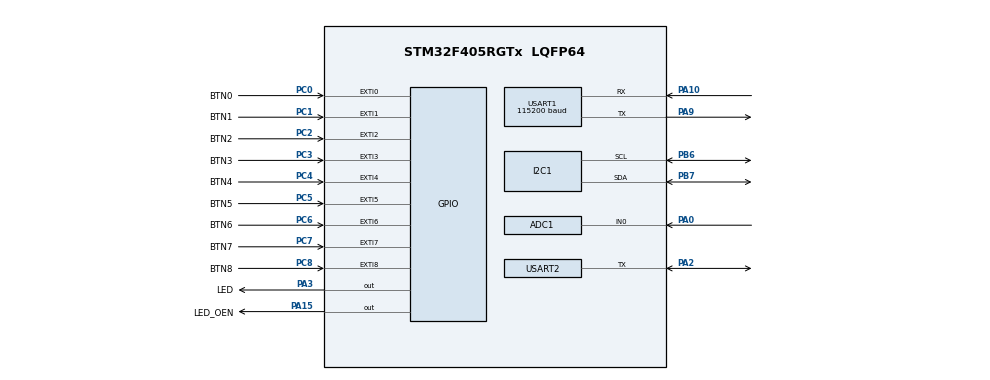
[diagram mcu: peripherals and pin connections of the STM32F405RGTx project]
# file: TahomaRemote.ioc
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ADC1.Channel-0\#ChannelRegularConversion=ADC_CHANNEL_0
ADC1.Channel-IN0=ADC_CHANNEL_0
ADC1.ClockPrescaler=ADC_CLOCK_SYNC_PCLK_DIV4
ADC1.ContinuousConvMode=ENABLE
ADC1.DMAContinuousRequests=ENABLE
ADC1.DataAlign=ADC_DATAALIGN_RIGHT
ADC1.DiscontinuousConvMode=DISABLE
ADC1.EOCSelection=ADC_EOC_SINGLE_CONV
ADC1.EnableAnalogWatchDog=false
ADC1.ExternalTrigConv=ADC_SOFTWARE_START
ADC1.ExternalTrigConvEdge=ADC_EXTERNALTRIGCONVEDGE_NONE
ADC1.InjNumberOfConversion=0
ADC1.Mode=__NULL
ADC1.NbrOfConversion=1
ADC1.Rank-0\#ChannelRegularConversion=1
ADC1.Resolution=ADC_RESOLUTION_12B
ADC1.SamplingTime-0\#ChannelRegularConversion=ADC_SAMPLETIME_480CYCLES
ADC1.ScanConvMode=DISABLE
ADC1.master=1
Dma.ADC1.0.Direction=DMA_PERIPH_TO_MEMORY
Dma.ADC1.0.FIFOMode=DMA_FIFOMODE_DISABLE
Dma.ADC1.0.Instance=DMA2_Stream0
Dma.ADC1.0.MemDataAlignment=DMA_MDATAALIGN_HALFWORD
Dma.ADC1.0.MemInc=DMA_MINC_ENABLE
Dma.ADC1.0.Mode=DMA_CIRCULAR
Dma.ADC1.0.PeriphDataAlignment=DMA_PDATAALIGN_HALFWORD
Dma.ADC1.0.PeriphInc=DMA_PINC_DISABLE
Dma.ADC1.0.Priority=DMA_PRIORITY_LOW
Dma.I2C1_TX.3.Direction=DMA_MEMORY_TO_PERIPH
Dma.I2C1_TX.3.FIFOMode=DMA_FIFOMODE_DISABLE
Dma.I2C1_TX.3.Instance=DMA1_Stream6
Dma.I2C1_TX.3.MemDataAlignment=DMA_MDATAALIGN_BYTE
Dma.I2C1_TX.3.MemInc=DMA_MINC_ENABLE
Dma.I2C1_TX.3.Mode=DMA_NORMAL
Dma.I2C1_TX.3.PeriphDataAlignment=DMA_PDATAALIGN_BYTE
Dma.I2C1_TX.3.PeriphInc=DMA_PINC_DISABLE
Dma.I2C1_TX.3.Priority=DMA_PRIORITY_HIGH
Dma.Request0=ADC1
Dma.Request1=USART1_RX
Dma.Request2=USART1_TX
Dma.Request3=I2C1_TX
Dma.USART1_RX.1.Direction=DMA_PERIPH_TO_MEMORY
Dma.USART1_RX.1.FIFOMode=DMA_FIFOMODE_DISABLE
Dma.USART1_RX.1.Instance=DMA2_Stream5
Dma.USART1_RX.1.MemDataAlignment=DMA_MDATAALIGN_BYTE
Dma.USART1_RX.1.MemInc=DMA_MINC_ENABLE
Dma.USART1_RX.1.Mode=DMA_CIRCULAR
Dma.USART1_RX.1.PeriphDataAlignment=DMA_PDATAALIGN_BYTE
Dma.USART1_RX.1.PeriphInc=DMA_PINC_DISABLE
Dma.USART1_RX.1.Priority=DMA_PRIORITY_LOW
Dma.USART1_TX.2.Direction=DMA_MEMORY_TO_PERIPH
Dma.USART1_TX.2.FIFOMode=DMA_FIFOMODE_DISABLE
Dma.USART1_TX.2.Instance=DMA2_Stream7
Dma.USART1_TX.2.MemDataAlignment=DMA_MDATAALIGN_BYTE
Dma.USART1_TX.2.MemInc=DMA_MINC_ENABLE
Dma.USART1_TX.2.Mode=DMA_NORMAL
Dma.USART1_TX.2.PeriphDataAlignment=DMA_PDATAALIGN_BYTE
Dma.USART1_TX.2.PeriphInc=DMA_PINC_DISABLE
Dma.USART1_TX.2.Priority=DMA_PRIORITY_LOW
FREERTOS.Tasks01=uiTask,24,4096,StartUiTask,Default,NULL,Dynamic,NULL,NULL;comTask,16,4096,StartComTask,Default,NULL,Dynamic,NULL,NULL;monitorTask,8,512,StartMonitorTask,Default,NULL,Dynamic,NULL,NULL
FREERTOS.configCHECK_FOR_STACK_OVERFLOW=2
FREERTOS.configENABLE_FPU=0
FREERTOS.configMINIMAL_STACK_SIZE=256
FREERTOS.configTOTAL_HEAP_SIZE=65536
FREERTOS.configUSE_NEWLIB_REENTRANT=1
Mcu.Family=STM32F4
Mcu.Name=STM32F405RGTx
Mcu.Package=LQFP64
NVIC.DMA1_Stream6_IRQn=true\:5\:0\:false\:false\:true\:true\:false\:true\:true
NVIC.DMA2_Stream0_IRQn=true\:5\:0\:false\:false\:true\:true\:false\:true\:true
NVIC.DMA2_Stream5_IRQn=true\:5\:0\:false\:false\:true\:true\:false\:true\:true
NVIC.DMA2_Stream7_IRQn=true\:5\:0\:false\:false\:true\:true\:false\:true\:true
NVIC.EXTI0_IRQn=true\:5\:0\:false\:false\:true\:true\:true\:true\:true
NVIC.EXTI1_IRQn=true\:5\:0\:false\:false\:true\:true\:true\:true\:true
NVIC.EXTI2_IRQn=true\:5\:0\:false\:false\:true\:true\:true\:true\:true
NVIC.EXTI3_IRQn=true\:5\:0\:false\:false\:true\:true\:true\:true\:true
NVIC.EXTI4_IRQn=true\:5\:0\:false\:false\:true\:true\:true\:true\:true
NVIC.EXTI9_5_IRQn=true\:5\:0\:false\:false\:true\:true\:true\:true\:true
NVIC.PriorityGroup=NVIC_PRIORITYGROUP_4
NVIC.TIM1_UP_TIM10_IRQn=true\:15\:0\:false\:false\:true\:false\:false\:true\:true
NVIC.TimeBase=TIM1_UP_TIM10_IRQn
NVIC.TimeBaseIP=TIM1
NVIC.USART1_IRQn=true\:5\:0\:false\:false\:true\:true\:true\:true\:true
NVIC.USART2_IRQn=true\:5\:0\:false\:false\:true\:true\:true\:true\:true
PA0-WKUP.Signal=ADCx_IN0
PA10.Mode=Asynchronous
PA10.Signal=USART1_RX
PA13.Mode=Trace_Asynchronous_SW
PA13.Signal=SYS_JTMS-SWDIO
PA14.Mode=Trace_Asynchronous_SW
PA14.Signal=SYS_JTCK-SWCLK
PA15.GPIO_Label=LED_OEN
PA15.Signal=GPIO_Output
PA2.GPIO_ModeDefaultOD=GPIO_MODE_AF_PP
PA2.Mode=Half_duplex(single_wire_mode)
PA2.Signal=USART2_TX
PA3.GPIO_Label=LED
PA3.Signal=GPIO_Output
PA9.GPIO_PuPd=GPIO_NOPULL
PA9.Mode=Asynchronous
PA9.Signal=USART1_TX
PB3.Mode=Trace_Asynchronous_SW
PB3.Signal=SYS_JTDO-SWO
PB6.Mode=I2C
PB6.Signal=I2C1_SCL
PB7.Mode=I2C
PB7.Signal=I2C1_SDA
PC0.GPIO_Label=BTN0
PC0.GPIO_ModeDefaultEXTI=GPIO_MODE_IT_FALLING
PC0.GPIO_PuPd=GPIO_PULLDOWN
PC0.Signal=GPXTI0
PC1.GPIO_Label=BTN1
PC1.GPIO_ModeDefaultEXTI=GPIO_MODE_IT_FALLING
PC1.GPIO_PuPd=GPIO_PULLDOWN
PC1.Signal=GPXTI1
PC2.GPIO_Label=BTN2
PC2.GPIO_ModeDefaultEXTI=GPIO_MODE_IT_FALLING
PC2.GPIO_PuPd=GPIO_PULLDOWN
PC2.Signal=GPXTI2
PC3.GPIO_Label=BTN3
PC3.GPIO_ModeDefaultEXTI=GPIO_MODE_IT_FALLING
PC3.GPIO_PuPd=GPIO_PULLDOWN
PC3.Signal=GPXTI3
PC4.GPIO_Label=BTN4
PC4.GPIO_ModeDefaultEXTI=GPIO_MODE_IT_FALLING
PC4.GPIO_PuPd=GPIO_PULLDOWN
PC4.Signal=GPXTI4
PC5.GPIO_Label=BTN5
PC5.GPIO_ModeDefaultEXTI=GPIO_MODE_IT_FALLING
PC5.GPIO_PuPd=GPIO_PULLDOWN
PC5.Signal=GPXTI5
PC6.GPIO_Label=BTN6
PC6.GPIO_ModeDefaultEXTI=GPIO_MODE_IT_FALLING
PC6.GPIO_PuPd=GPIO_PULLDOWN
PC6.Signal=GPXTI6
PC7.GPIO_Label=BTN7
PC7.GPIO_ModeDefaultEXTI=GPIO_MODE_IT_FALLING
PC7.GPIO_PuPd=GPIO_PULLDOWN
PC7.Signal=GPXTI7
PC8.GPIO_Label=BTN8
PC8.GPIO_ModeDefaultEXTI=GPIO_MODE_IT_FALLING
PC8.GPIO_PuPd=GPIO_PULLDOWN
PC8.Signal=GPXTI8
PH0-OSC_IN.Mode=HSE-External-Oscillator
PH0-OSC_IN.Signal=RCC_OSC_IN
PH1-OSC_OUT.Mode=HSE-External-Oscillator
PH1-OSC_OUT.Signal=RCC_OSC_OUT
ProjectManager.HeapSize=0x200
ProjectManager.StackSize=0x400
ProjectManager.TargetToolchain=CMake
RCC.48MHZClocksFreq_Value=84000000
RCC.AHBFreq_Value=168000000
RCC.APB1CLKDivider=RCC_HCLK_DIV4
RCC.APB1Freq_Value=42000000
RCC.APB1TimFreq_Value=84000000
RCC.APB2CLKDivider=RCC_HCLK_DIV2
RCC.APB2Freq_Value=84000000
RCC.APB2TimFreq_Value=168000000
RCC.CortexFreq_Value=168000000
RCC.FLatency=FLASH_LATENCY_5
RCC.HCLKFreq_Value=168000000
RCC.HSE_VALUE=16000000
RCC.HSI_VALUE=16000000
RCC.LSE_VALUE=32768
RCC.PLLM=8
RCC.PLLN=168
RCC.SYSCLKFreq_VALUE=168000000
RCC.SYSCLKSource=RCC_SYSCLKSOURCE_PLLCLK
RCC.VCOOutputFreq_Value=336000000
SH.ADCx_IN0.0=ADC1_IN0,IN0
USART1.BaudRate=115200
USART1.Mode=MODE_TX_RX
USART1.OverSampling=UART_OVERSAMPLING_16
USART1.Parity=PARITY_NONE
USART1.StopBits=STOPBITS_1
USART1.VirtualMode=VM_ASYNC
USART1.WordLength=WORDLENGTH_8B
USART2.BaudRate=115200
USART2.Mode=MODE_TX_RX
USART2.OverSampling=UART_OVERSAMPLING_16
USART2.Parity=PARITY_NONE
USART2.StopBits=STOPBITS_1
USART2.VirtualMode=VM_ASYNC
USART2.WordLength=WORDLENGTH_8B
VP_FREERTOS_VS_CMSIS_V2.Mode=CMSIS_V2
VP_SYS_VS_tim1.Mode=TIM1
board=custom

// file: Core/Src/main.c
/* USER CODE BEGIN Header */
/**
  ******************************************************************************
  * @file           : main.c
  * @brief          : Main program body
  ******************************************************************************
  * @attention
  *
  * Copyright (c) 2025 STMicroelectronics.
  * All rights reserved.
  *
  * This software is licensed under terms that can be found in the LICENSE file
  * in the root directory of this software component.
  * If no LICENSE file comes with this software, it is provided AS-IS.
  *
  ******************************************************************************
  */
/* USER CODE END Header */
#include "main.h"
#include "cmsis_os.h"
#include "adc.h"
#include "dma.h"
#include "i2c.h"
#include "usart.h"
#include "gpio.h"

/* USER CODE BEGIN Includes */
#include "Dbg.h"
/* USER CODE END Includes */

/* USER CODE BEGIN PD */
#define ESP_UART USART1
#define ESP_DMA DMA2
#define ESP_RX_DMA_STREAM LL_DMA_STREAM_5
#define ESP_TX_DMA_STREAM LL_DMA_STREAM_7
/* USER CODE END PD */

/* USER CODE BEGIN PV */
/* Buffer used for transmission */
#define RX_BUFFER_SIZE 1024
char rxBuffer[RX_BUFFER_SIZE];
volatile size_t readPtr = 0;
volatile size_t writePtr = 0;

#define TX_BUFFER_SIZE 1024
char txBuffer[TX_BUFFER_SIZE];
volatile uint8_t transmissionComplete = 1;

// Signaled from the UART RX ISR (USART idle-line / DMA half-transfer / DMA
// transfer-complete) whenever new bytes may be available. Lets nextChar()
// block briefly instead of busy-spinning while waiting for the ESP8266.
static osSemaphoreId_t rxDataSem = NULL;
/* USER CODE END PV */

void SystemClock_Config(void);
void MX_FREERTOS_Init(void);
/* USER CODE BEGIN PFP */
void     setupDMA(void);
int      StartTransfers(void);
uint8_t  Buffercmp8(uint8_t* pBuffer1, uint8_t* pBuffer2, uint8_t BufferLength);
/* USER CODE END PFP */

int main(void)
{

  /* MCU Configuration--------------------------------------------------------*/

  /* Reset of all peripherals, Initializes the Flash interface and the Systick. */
  HAL_Init();

  /* Configure the system clock */
  SystemClock_Config();

  /* Initialize all configured peripherals */
  MX_GPIO_Init();
  MX_DMA_Init();
  MX_USART1_UART_Init();
  MX_USART2_UART_Init();
  MX_ADC1_Init();
  MX_I2C1_Init();
  /* USER CODE BEGIN 2 */
  setupDMA();
  /* USER CODE END 2 */

  /* Init scheduler */
  osKernelInitialize();  /* Call init function for freertos objects (in cmsis_os2.c) */
  MX_FREERTOS_Init();

  /* Start scheduler */
  osKernelStart();

  /* We should never get here as control is now taken by the scheduler */

  /* Infinite loop */
  while (1)
  {

  }
}

void SystemClock_Config(void)
{
  LL_FLASH_SetLatency(LL_FLASH_LATENCY_5);
  while(LL_FLASH_GetLatency()!= LL_FLASH_LATENCY_5)
  {
  }
  LL_PWR_SetRegulVoltageScaling(LL_PWR_REGU_VOLTAGE_SCALE1);
  LL_RCC_HSI_SetCalibTrimming(16);
  LL_RCC_HSI_Enable();

   /* Wait till HSI is ready */
  while(LL_RCC_HSI_IsReady() != 1)
  {

  }
  LL_RCC_PLL_ConfigDomain_SYS(LL_RCC_PLLSOURCE_HSI, LL_RCC_PLLM_DIV_8, 168, LL_RCC_PLLP_DIV_2);
  LL_RCC_PLL_Enable();

   /* Wait till PLL is ready */
  while(LL_RCC_PLL_IsReady() != 1)
  {

  }
  while (LL_PWR_IsActiveFlag_VOS() == 0)
  {
  }
  LL_RCC_SetAHBPrescaler(LL_RCC_SYSCLK_DIV_1);
  LL_RCC_SetAPB1Prescaler(LL_RCC_APB1_DIV_4);
  LL_RCC_SetAPB2Prescaler(LL_RCC_APB2_DIV_2);
  LL_RCC_SetSysClkSource(LL_RCC_SYS_CLKSOURCE_PLL);

   /* Wait till System clock is ready */
  while(LL_RCC_GetSysClkSource() != LL_RCC_SYS_CLKSOURCE_STATUS_PLL)
  {

  }
  LL_SetSystemCoreClock(168000000);

   /* Update the time base */
  if (HAL_InitTick (TICK_INT_PRIORITY) != HAL_OK)
  {
    Error_Handler();
  }
}

/* USER CODE BEGIN 4 */
void setupDMA() {

  // Enable RX interrupts (HT, TC, Usart IDLE)
  LL_DMA_EnableIT_HT(ESP_DMA, ESP_RX_DMA_STREAM);
  LL_DMA_EnableIT_TC(ESP_DMA, ESP_RX_DMA_STREAM);
  LL_USART_EnableIT_IDLE(ESP_UART);

  // Enable DMA TX TC interrupts
  LL_DMA_EnableIT_TC(ESP_DMA, ESP_TX_DMA_STREAM);

  // Configure TX DMA
  LL_DMA_SetPeriphAddress(ESP_DMA, ESP_TX_DMA_STREAM, LL_USART_DMA_GetRegAddr(USART1));

  // start DMA reception
  LL_DMA_SetPeriphAddress(ESP_DMA, ESP_RX_DMA_STREAM, LL_USART_DMA_GetRegAddr(USART1));
  LL_DMA_SetMemoryAddress(ESP_DMA, ESP_RX_DMA_STREAM, (uint32_t)rxBuffer);
  LL_DMA_SetDataLength(ESP_DMA, ESP_RX_DMA_STREAM, sizeof(rxBuffer));
  LL_USART_EnableDMAReq_RX(ESP_UART);
  //LL_USART_ClearFlag_TC(USART1);
  LL_DMA_EnableStream(ESP_DMA, ESP_RX_DMA_STREAM);

}

void sendCommand(const char* buf, size_t len) {
  TRACE_LOG("sendCommand: %.*s with length %d\n", len, buf, len);
  if(len >= TX_BUFFER_SIZE) {
    USER_LOG("Command too long for TR Buffer %d", len);
    return;
  }

  while(transmissionComplete != 1);
  memcpy(txBuffer, buf, len);

  // DMA transfer
  LL_DMA_SetMemoryAddress(ESP_DMA, ESP_TX_DMA_STREAM, (uint32_t)txBuffer);
  LL_DMA_SetDataLength(ESP_DMA, ESP_TX_DMA_STREAM, len);
  LL_USART_EnableDMAReq_TX(ESP_UART);
  LL_USART_ClearFlag_TC(ESP_UART);
  LL_DMA_EnableStream(ESP_DMA, ESP_TX_DMA_STREAM);
  transmissionComplete = 0;
}

size_t available() {
  if(writePtr >= readPtr) {
    return writePtr - readPtr;
  } else {
    return (sizeof(rxBuffer) - readPtr) + writePtr;
  }
}

void uartRxSemInit(void) {
  rxDataSem = osSemaphoreNew(1, 0, NULL);
}

char nextChar() {
  if(!available()) {
    // Block briefly for new data instead of busy-spinning; rxDataSem is
    // released by uartRxCallback() when the ISR observes new bytes. Bounded
    // wait keeps callers' own timeout/elapsed-time checks working as before.
    if(rxDataSem != NULL) {
      osSemaphoreAcquire(rxDataSem, 500);
    }
    if(!available()) {
      return 0;
    }
  }
  char c = rxBuffer[readPtr++];
  if(readPtr == RX_BUFFER_SIZE) {
    readPtr = 0;
  }
  return c;
}

void uartRxCallback() {
  writePtr = sizeof(rxBuffer) - LL_DMA_GetDataLength(DMA2, LL_DMA_STREAM_5);
  if(rxDataSem != NULL) {
    osSemaphoreRelease(rxDataSem);
  }
}

void uartTxCompleteCallback() {
  transmissionComplete = 1;
}
/* USER CODE END 4 */

void HAL_TIM_PeriodElapsedCallback(TIM_HandleTypeDef *htim)
{
  if (htim->Instance == TIM1)
  {
    HAL_IncTick();
  }
}

void Error_Handler(void)
{
  __disable_irq();
  while (1)
  {
  }
}

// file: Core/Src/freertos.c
/* USER CODE BEGIN Header */
/**
  ******************************************************************************
  * File Name          : freertos.c
  * Description        : Code for freertos applications
  ******************************************************************************
  * @attention
  *
  * Copyright (c) 2025 STMicroelectronics.
  * All rights reserved.
  *
  * This software is licensed under terms that can be found in the LICENSE file
  * in the root directory of this software component.
  * If no LICENSE file comes with this software, it is provided AS-IS.
  *
  ******************************************************************************
  */
/* USER CODE END Header */

#include "FreeRTOS.h"
#include "task.h"
#include "main.h"
#include "cmsis_os.h"

/* USER CODE BEGIN Includes */
#include "App.h"
#include "usart.h"
/* USER CODE END Includes */

/* Definitions for uiTask */
osThreadId_t uiTaskHandle;
const osThreadAttr_t uiTask_attributes = {
  .name = "uiTask",
  .stack_size = 4096 * 4,
  .priority = (osPriority_t) osPriorityNormal,
};
/* Definitions for comTask */
osThreadId_t comTaskHandle;
const osThreadAttr_t comTask_attributes = {
  .name = "comTask",
  .stack_size = 4096 * 4,
  .priority = (osPriority_t) osPriorityBelowNormal,
};
/* Definitions for monitorTask */
osThreadId_t monitorTaskHandle;
const osThreadAttr_t monitorTask_attributes = {
  .name = "monitorTask",
  .stack_size = 512 * 4,
  .priority = (osPriority_t) osPriorityLow,
};

void StartUiTask(void *argument);
void StartComTask(void *argument);
void StartMonitorTask(void *argument);

void MX_FREERTOS_Init(void); /* (MISRA C 2004 rule 8.1) */

/* Hook prototypes */
void vApplicationStackOverflowHook(xTaskHandle xTask, signed char *pcTaskName);

/* USER CODE BEGIN 4 */
void vApplicationStackOverflowHook(xTaskHandle xTask, signed char *pcTaskName)
{
   /* Run time stack overflow checking is performed if
   configCHECK_FOR_STACK_OVERFLOW is defined to 1 or 2. This hook function is
   called if a stack overflow is detected. */
  // Print directly to UART without FreeRTOS calls (we're in exception context)
  LL_USART_DeInit(USART2);
  MX_USART2_UART_Init();

  char msg[100];
  sprintf(msg, "\n\n*** STACK OVERFLOW ***\npcTaskName = %s\n**********************\n", pcTaskName);
  for(const char *p = msg; *p; ++p) {
    while(!LL_USART_IsActiveFlag_TXE(USART2));
    LL_USART_TransmitData8(USART2, *p);
  }

  //const char *msg = "\n\n*** STACK OVERFLOW ***\n";
  //for (const char *p = msg; *p; p++) {
  //  while(!LL_USART_IsActiveFlag_TXE(USART2));
  //  LL_USART_TransmitData8(USART2, *p);
  //}
  //
  //// Print task name if available
  //if (pcTaskName) {
  //  for (const signed char *p = pcTaskName; *p; p++) {
  //    while(!LL_USART_IsActiveFlag_TXE(USART2));
  //    LL_USART_TransmitData8(USART2, *p);
  //  }
  //}
  //
  //const char *end = "\n";
  //for (const char *p = end; *p; p++) {
  //  while(!LL_USART_IsActiveFlag_TXE(USART2));
  //  LL_USART_TransmitData8(USART2, *p);
  //}

  while(1); // Hang here so you can debug
}
/* USER CODE END 4 */

void MX_FREERTOS_Init(void) {

  /* USER CODE BEGIN RTOS_SEMAPHORES */
  /* add semaphores, ... */
  uartRxSemInit();
  /* USER CODE END RTOS_SEMAPHORES */

  /* Create the thread(s) */
  /* creation of uiTask */
  uiTaskHandle = osThreadNew(StartUiTask, NULL, &uiTask_attributes);

  /* creation of comTask */
  comTaskHandle = osThreadNew(StartComTask, NULL, &comTask_attributes);

  /* creation of monitorTask */
  monitorTaskHandle = osThreadNew(StartMonitorTask, NULL, &monitorTask_attributes);

}

void StartUiTask(void *argument)
{
  /* USER CODE BEGIN StartUiTask */
  /* Infinite loop */
  uiMain();
  /* USER CODE END StartUiTask */
}

void StartComTask(void *argument)
{
  /* USER CODE BEGIN StartComTask */
  comMain();
  /* USER CODE END StartComTask */
}

void StartMonitorTask(void *argument)
{
  /* USER CODE BEGIN StartMonitorTask */
  /* Infinite loop */
  // see https://www.youtube.com/watch?v=PY_GuphBsyc
  uint32_t uiStack, comStack;
  for(;;)
  {
    osDelay(5000);
    uiStack  = osThreadGetStackSpace(uiTaskHandle);
    comStack = osThreadGetStackSpace(comTaskHandle);
    printf("Stack free - uiTask: %lu bytes left,\t comTask: %lu bytes left\n", uiStack, comStack);
  }
  /* USER CODE END StartMonitorTask */
}
